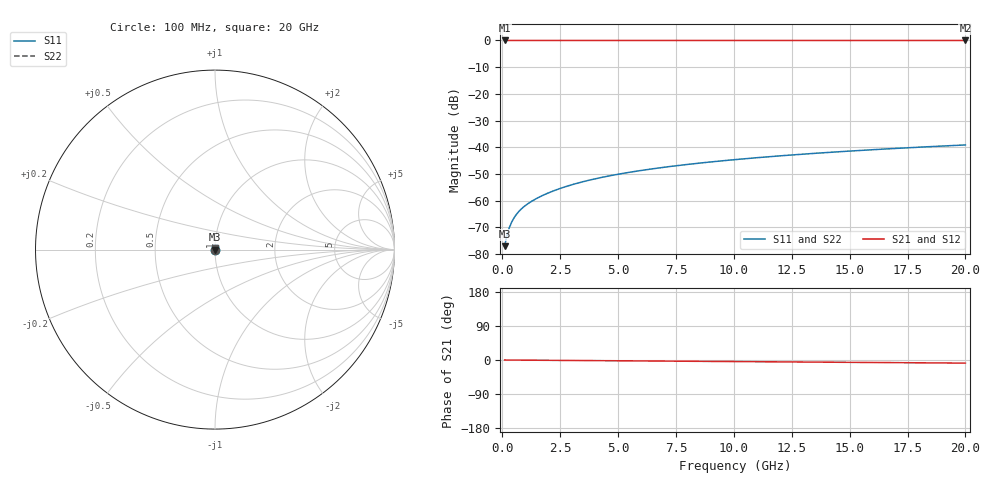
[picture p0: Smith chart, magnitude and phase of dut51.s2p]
! Touchstone file exported from HFSS 2026.1.0
!  File:  C:/ffzhzh/LocalFiles/Ansys_Project_Files/temp_train_TSV_51_1782958795_45748.aedt
!  Generated:  10:21:26 AM Jul  2, 2026
!  Design:  TSV
!  Project:  temp_train_TSV_51_1782958795_45748
! Variables:
!  h_bsmrdl = 2um
!  h_ox = 20um
!  h_rdl = 5um
!  h_sub = 80.45um
!  h_tmrdl = 5um
!  h_tsv = 80.45um
!  h_via = 3um
!  l_bsmrdl = 300um
!  l_sub = 423.04um
!  l_tmrdl = 200um
!  m_sub = 200um
!  pitch = 50.24um
!  r_tsv = 11.52um
!  s_tmrdl = 10um
!  w_bsmrdl = 18um
!  w_sub = 500um
!  w_tmrdl = 12um
!  x_tsv_center1 = 206um
!  x_tsv_center2 = 524um
!  x_tsv_center3 = 736um
!  x_tsv_center4 = 1054um
!  x_tsv_center5 = 1266um
!  x_tsv_center6 = 1584um
# GHz S MA R 50.000000
! Terminal data exported
! Port[1] = TSV1_1_T1
! Port[2] = TSV1_1_T2
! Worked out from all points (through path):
!   200 points, 100 MHz to 20 GHz, reference 50 ohm
!   highest |S21| = 0.00 dB at 100 MHz (marker M1); lowest = 0.0 dB at 20 GHz (marker M2)
!   group delay of S21, straight-line fit = 1.14 ps
!   lowest |S11| = -77.0 dB at 100 MHz (marker M3), VSWR 1.00, Z = 50 + j0.00965 ohm
!   |S11| at or under -10 dB: start of sweep to end of sweep
!   |S22| runs from -77.0 to -39.1 dB; largest |S21 - S12| = 1.1e-15
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0.1  0.0001408 43.2  0.9999 -0.0  0.9999 -0.0  0.0001408 43.2
! Gamma 0 0 0 0
! Port Impedance 50 0 50 0
0.2  0.000222 58.9  0.9999 -0.1  0.9999 -0.1  0.000222 58.9
0.3  0.0003086 64.5  0.9999 -0.1  0.9999 -0.1  0.0003086 64.5
0.4  0.0003928 66.8  0.9998 -0.2  0.9998 -0.2  0.0003928 66.8
0.5  0.0004725 67.9  0.9998 -0.2  0.9998 -0.2  0.0004725 67.9
0.6  0.0005475 68.5  0.9998 -0.3  0.9998 -0.3  0.0005475 68.5
0.7  0.0006184 68.9  0.9998 -0.3  0.9998 -0.3  0.0006184 68.9
0.9  0.0007506 69.6  0.9997 -0.4  0.9997 -0.4  0.0007506 69.6
1.1  0.0008747 70.3  0.9997 -0.5  0.9997 -0.5  0.0008747 70.3
1.3  0.0009946 71.1  0.9997 -0.5  0.9997 -0.5  0.0009946 71.1
1.6  0.001171 72.3  0.9997 -0.7  0.9997 -0.7  0.001171 72.3
1.9  0.001346 73.3  0.9996 -0.8  0.9996 -0.8  0.001346 73.3
2.6  0.001754 75.1  0.9996 -1.1  0.9996 -1.1  0.001754 75.1
3.5  0.002276 76.4  0.9995 -1.5  0.9995 -1.5  0.002276 76.4
4.2  0.002677 77.0  0.9995 -1.7  0.9995 -1.7  0.002677 77.0
5  0.003128 77.4  0.9994 -2.1  0.9994 -2.1  0.003128 77.4
6.8  0.004125 77.8  0.9993 -2.8  0.9993 -2.8  0.004124 77.8
8.3  0.004939 77.9  0.9992 -3.4  0.9992 -3.4  0.004939 77.9
10.1  0.005905 77.8  0.9992 -4.2  0.9992 -4.2  0.005905 77.8
13.4  0.007653 77.4  0.999 -5.5  0.999 -5.5  0.007653 77.4
16.7  0.009375 76.7  0.9989 -6.9  0.9989 -6.9  0.009375 76.7
20  0.01106 75.8  0.9988 -8.2  0.9988 -8.2  0.01106 75.8
